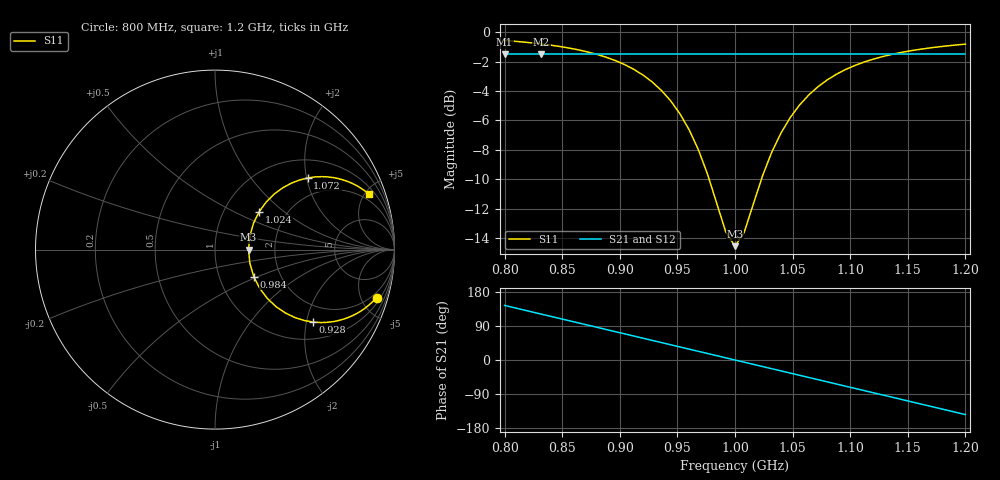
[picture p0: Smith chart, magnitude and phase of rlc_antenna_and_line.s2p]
! Synthetic example data, NOT a measurement.
! Generated from the model of Resonant's simulated VNA (sim:vna-2): port 1 a series RLC
! (R 73 ohm, resonance 1 GHz, Q 10), ports 1 -> 2 a matched line with 1.5 dB loss and 2 ns delay.
! Its purpose is to exercise the two-port Touchstone import (S11 S21 S12 S22 order).
# HZ S RI R 50
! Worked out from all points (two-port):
!   51 points, 800 MHz to 1.2 GHz, reference 50 ohm
!   highest |S21| = -1.50 dB at 800 MHz (marker M1); lowest = -1.5 dB at 832 MHz (marker M2)
!   |S21| within 3 dB of the highest: start of sweep to end of sweep
!   lowest |S11| = -14.6 dB at 1 GHz (marker M3), VSWR 1.46, Z = 73 + j0 ohm
!   |S11| at or under -10 dB: 977.5 MHz to 1.023 GHz (45.45 MHz wide, 4.54 % of centre)
!   |S22| runs from - to - dB; largest |S21 - S12| = 0
!   S11 on the Smith chart (normalised r, x): 800 MHz: 1.46, -6.57; 928 MHz: 1.46, -2.18; 984 MHz: 1.46, -0.47; 1.024 GHz: 1.46, +0.69; 1.072 GHz: 1.46, +2.03; 1.2 GHz: 1.46, +5.35
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8e8  0.9 -0.267  -0.6807 0.4946  -0.6807 0.4946  0 0
8.32e8  0.8603 -0.3067  -0.4328 0.7215  -0.4328 0.7215  0 0
8.56e8  0.8166 -0.3398  -0.199 0.8175  -0.199 0.8175  0 0
8.72e8  0.7778 -0.3623  -0.0317 0.8408  -0.0317 0.8408  0 0
8.96e8  0.6995 -0.3924  0.2195 0.8123  0.2195 0.8123  0 0
9.28e8  0.5453 -0.4036  0.5199 0.6616  0.5199 0.6616  0 0
9.36e8  0.4973 -0.395  0.5836 0.6061  0.5836 0.6061  0 0
9.6e8  0.3417 -0.3191  0.7373 0.4053  0.7373 0.4053  0 0
9.68e8  0.2925 -0.2732  0.7743 0.3293  0.7743 0.3293  0 0
9.84e8  0.2157 -0.1502  0.8244 0.168  0.8244 0.168  0 0
9.92e8  0.1943 -0.0768  0.8371 0.0844  0.8371 0.0844  0 0
1e9  0.187 0  0.8414 -0  0.8414 -0  0 0
1.008e9  0.1942 0.0762  0.8371 -0.0844  0.8371 -0.0844  0 0
1.024e9  0.2467 0.2121  0.8034 -0.2499  0.8034 -0.2499  0 0
1.048e9  0.3793 0.3455  0.6929 -0.4773  0.6929 -0.4773  0 0
1.072e9  0.5167 0.3992  0.5199 -0.6616  0.5199 -0.6616  0 0
1.104e9  0.6589 0.4012  0.2195 -0.8123  0.2195 -0.8123  0 0
1.12e9  0.7114 0.389  0.0528 -0.8397  0.0528 -0.8397  0 0
1.136e9  0.7539 0.3735  -0.1159 -0.8334  -0.1159 -0.8334  0 0
1.152e9  0.7883 0.3568  -0.28 -0.7934  -0.28 -0.7934  0 0
1.168e9  0.8163 0.34  -0.4328 -0.7215  -0.4328 -0.7215  0 0
1.2e9  0.8583 0.3085  -0.6807 -0.4946  -0.6807 -0.4946  0 0
